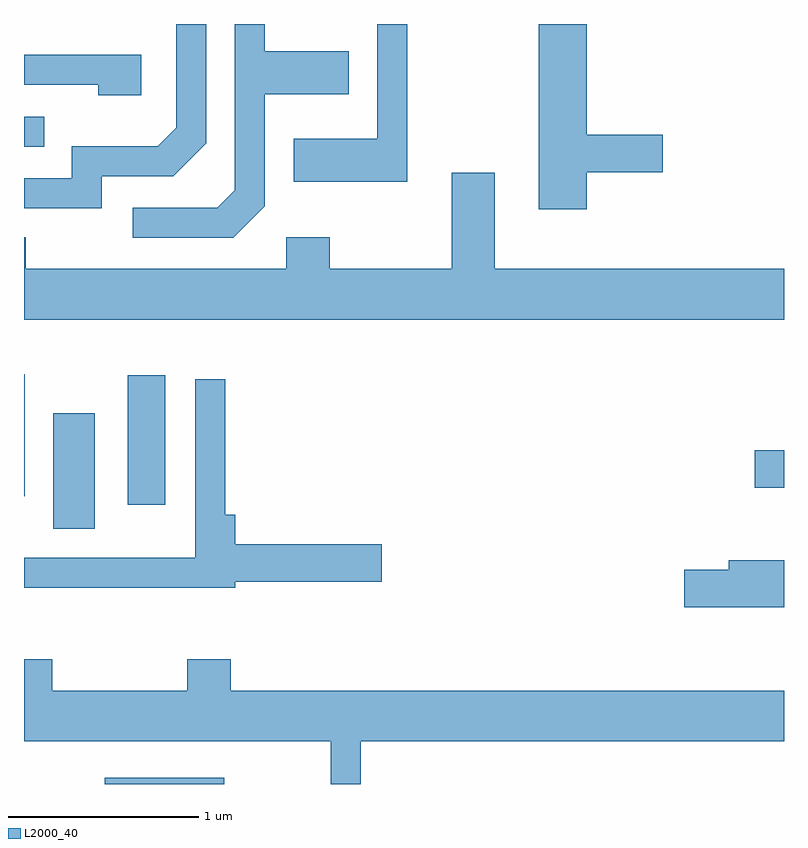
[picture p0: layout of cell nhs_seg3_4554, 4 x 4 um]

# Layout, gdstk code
import gdstk
lib = gdstk.Library(unit=1e-6, precision=1e-09)
def R(c, l, rs):  # rectangles x0, y0, x1, y1
    for r in rs: c.add(gdstk.rectangle(r[:2], r[2:], *l))
def P(c, l, *ps):  # polygons
    for p in ps: c.add(gdstk.Polygon(p, *l))
L2000_40 = (2000, 40)

nhs_seg3_4554 = lib.new_cell('nhs_seg3_4554')
R(nhs_seg3_4554, L2000_40, [(318.036,1247.892,318.664,1247.924), (317.766,1249.236,317.984,1249.844), (318.156,1249.361,318.354,1250.044), (317.611,1249.406,317.614,1250.049), (321.456,1249.451,321.611,1249.649), (317.611,1251.246,317.718,1251.404)])
P(nhs_seg3_4554, L2000_40, [(320.574,1251.111),(320.974,1251.111),(320.974,1251.309),(320.574,1251.309),(320.574,1251.892),(320.321,1251.892),(320.321,1250.916),(320.574,1250.916)],
  [(318.879,1250.934),(318.879,1251.521),(319.319,1251.521),(319.319,1251.749),(318.879,1251.749),(318.879,1251.892),(318.721,1251.892),(318.721,1251.017),(318.629,1250.924),(318.183,1250.924),(318.183,1250.766),(318.712,1250.766)],
  [(319.629,1251.892),(319.471,1251.892),(319.471,1251.289),(319.031,1251.289),(319.031,1251.061),(319.629,1251.061)],
  [(318.019,1251.091),(318.397,1251.091),(318.569,1251.264),(318.569,1251.892),(318.411,1251.892),(318.411,1251.347),(318.314,1251.249),(317.861,1251.249),(317.861,1251.079),(317.611,1251.079),(317.611,1250.921),(318.019,1250.921)],
  [(318.229,1251.729),(317.611,1251.729),(317.611,1251.571),(318.001,1251.571),(318.001,1251.516),(318.229,1251.516)],
  [(321.611,1250.604),(320.089,1250.604),(320.089,1251.109),(319.861,1251.109),(319.861,1250.604),(319.219,1250.604),(319.219,1250.769),(318.991,1250.769),(318.991,1250.604),(317.619,1250.604),(317.619,1250.769),(317.611,1250.769),(317.611,1250.336),(321.611,1250.336)],
  [(318.724,1248.956),(319.494,1248.956),(319.494,1249.154),(318.724,1249.154),(318.724,1249.309),(318.669,1249.309),(318.669,1250.023),(318.511,1250.023),(318.511,1249.084),(317.611,1249.084),(317.611,1248.926),(318.724,1248.926)],
  [(321.611,1249.069),(321.321,1249.069),(321.321,1249.019),(321.086,1249.019),(321.086,1248.821),(321.611,1248.821)],
  [(319.384,1248.116),(321.611,1248.116),(321.611,1248.384),(318.699,1248.384),(318.699,1248.549),(318.471,1248.549),(318.471,1248.384),(317.759,1248.384),(317.759,1248.549),(317.611,1248.549),(317.611,1248.116),(319.226,1248.116),(319.226,1247.892),(319.384,1247.892)])

lib.write_gds('nhs_seg3_4554.gds')
